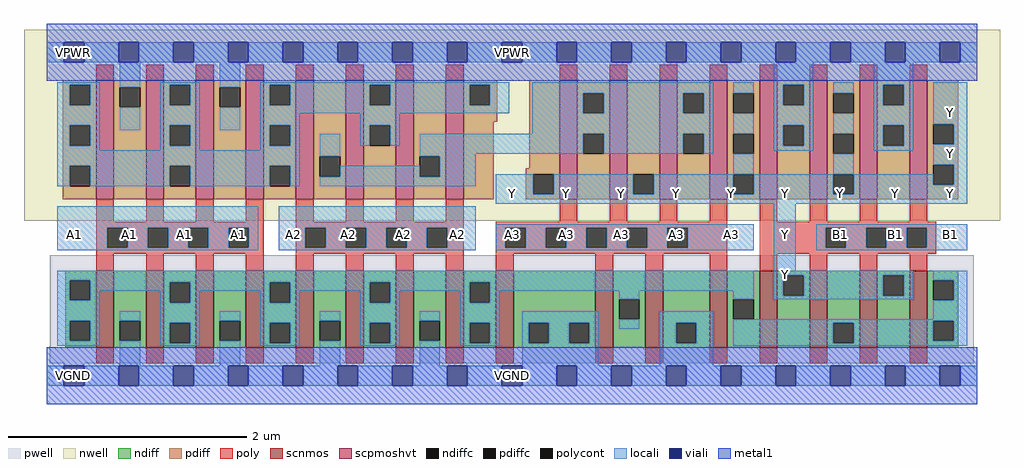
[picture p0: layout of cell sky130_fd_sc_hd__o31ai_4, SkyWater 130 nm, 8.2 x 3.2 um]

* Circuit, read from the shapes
.subckt sky130_fd_sc_hd__o31ai_4 A1 A2 A3 B1 VGND VNB VPB VPWR Y
XM1 VGND A1 n1 VNB sky130_fd_pr__nfet_01v8 w=0.65 l=0.15 m=4
XM2 VGND A2 n1 VNB sky130_fd_pr__nfet_01v8 w=0.65 l=0.15 m=4
XM3 VGND A3 n1 VNB sky130_fd_pr__nfet_01v8 w=0.65 l=0.15 m=4
XM4 Y B1 n1 VNB sky130_fd_pr__nfet_01v8 w=0.65 l=0.15 m=4
XM5 VPWR A1 n2 VPB sky130_fd_pr__pfet_01v8_hvt w=1 l=0.15 m=4
XM6 n3 A2 n2 VPB sky130_fd_pr__pfet_01v8_hvt w=1 l=0.15 m=4
XM7 n3 A3 Y VPB sky130_fd_pr__pfet_01v8_hvt w=1 l=0.15 m=4
XM8 VPWR B1 Y VPB sky130_fd_pr__pfet_01v8_hvt w=1 l=0.15 m=4
.ends

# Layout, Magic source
magic
tech sky130B
magscale 1 2
<< nwell >>
rect -38 261 1602 582
<< pwell >>
rect 5 21 1558 203
rect 29 -17 63 21
<< scnmos >>
rect 83 47 113 177
rect 167 47 197 177
rect 251 47 281 177
rect 335 47 365 177
rect 419 47 449 177
rect 503 47 533 177
rect 587 47 617 177
rect 671 47 701 177
rect 755 47 785 177
rect 922 47 952 177
rect 1006 47 1036 177
rect 1114 47 1144 177
rect 1198 47 1228 177
rect 1282 47 1312 177
rect 1366 47 1396 177
rect 1450 47 1480 177
<< scpmoshvt >>
rect 83 297 113 497
rect 167 297 197 497
rect 251 297 281 497
rect 335 297 365 497
rect 419 297 449 497
rect 503 297 533 497
rect 587 297 617 497
rect 671 297 701 497
rect 862 297 892 497
rect 946 297 976 497
rect 1030 297 1060 497
rect 1114 297 1144 497
rect 1198 297 1228 497
rect 1282 297 1312 497
rect 1366 297 1396 497
rect 1450 297 1480 497
<< ndiff >>
rect 31 161 83 177
rect 31 127 39 161
rect 73 127 83 161
rect 31 93 83 127
rect 31 59 39 93
rect 73 59 83 93
rect 31 47 83 59
rect 113 93 167 177
rect 113 59 123 93
rect 157 59 167 93
rect 113 47 167 59
rect 197 157 251 177
rect 197 123 207 157
rect 241 123 251 157
rect 197 89 251 123
rect 197 55 207 89
rect 241 55 251 89
rect 197 47 251 55
rect 281 93 335 177
rect 281 59 291 93
rect 325 59 335 93
rect 281 47 335 59
rect 365 157 419 177
rect 365 123 375 157
rect 409 123 419 157
rect 365 89 419 123
rect 365 55 375 89
rect 409 55 419 89
rect 365 47 419 55
rect 449 93 503 177
rect 449 59 459 93
rect 493 59 503 93
rect 449 47 503 59
rect 533 157 587 177
rect 533 123 543 157
rect 577 123 587 157
rect 533 89 587 123
rect 533 55 543 89
rect 577 55 587 89
rect 533 47 587 55
rect 617 93 671 177
rect 617 59 627 93
rect 661 59 671 93
rect 617 47 671 59
rect 701 157 755 177
rect 701 123 711 157
rect 745 123 755 157
rect 701 89 755 123
rect 701 55 711 89
rect 745 55 755 89
rect 701 47 755 55
rect 785 89 922 177
rect 785 55 810 89
rect 844 55 878 89
rect 912 55 922 89
rect 785 47 922 55
rect 952 129 1006 177
rect 952 95 962 129
rect 996 95 1006 129
rect 952 47 1006 95
rect 1036 89 1114 177
rect 1036 55 1058 89
rect 1092 55 1114 89
rect 1036 47 1114 55
rect 1144 129 1198 177
rect 1144 95 1154 129
rect 1188 95 1198 129
rect 1144 47 1198 95
rect 1228 169 1282 177
rect 1228 135 1238 169
rect 1272 135 1282 169
rect 1228 47 1282 135
rect 1312 89 1366 177
rect 1312 55 1322 89
rect 1356 55 1366 89
rect 1312 47 1366 55
rect 1396 169 1450 177
rect 1396 135 1406 169
rect 1440 135 1450 169
rect 1396 47 1450 135
rect 1480 161 1532 177
rect 1480 127 1490 161
rect 1524 127 1532 161
rect 1480 93 1532 127
rect 1480 59 1490 93
rect 1524 59 1532 93
rect 1480 47 1532 59
<< pdiff >>
rect 27 489 83 497
rect 27 455 39 489
rect 73 455 83 489
rect 27 421 83 455
rect 27 387 39 421
rect 73 387 83 421
rect 27 353 83 387
rect 27 319 39 353
rect 73 319 83 353
rect 27 297 83 319
rect 113 485 167 497
rect 113 451 123 485
rect 157 451 167 485
rect 113 297 167 451
rect 197 489 251 497
rect 197 455 207 489
rect 241 455 251 489
rect 197 421 251 455
rect 197 387 207 421
rect 241 387 251 421
rect 197 353 251 387
rect 197 319 207 353
rect 241 319 251 353
rect 197 297 251 319
rect 281 485 335 497
rect 281 451 291 485
rect 325 451 335 485
rect 281 297 335 451
rect 365 489 419 497
rect 365 455 375 489
rect 409 455 419 489
rect 365 421 419 455
rect 365 387 375 421
rect 409 387 419 421
rect 365 353 419 387
rect 365 319 375 353
rect 409 319 419 353
rect 365 297 419 319
rect 449 369 503 497
rect 449 335 459 369
rect 493 335 503 369
rect 449 297 503 335
rect 533 489 587 497
rect 533 455 543 489
rect 577 455 587 489
rect 533 421 587 455
rect 533 387 543 421
rect 577 387 587 421
rect 533 297 587 387
rect 617 369 671 497
rect 617 335 627 369
rect 661 335 671 369
rect 617 297 671 335
rect 701 489 757 497
rect 701 455 711 489
rect 745 455 757 489
rect 701 427 757 455
rect 701 297 751 427
rect 811 349 862 497
rect 805 339 862 349
rect 805 305 818 339
rect 852 305 862 339
rect 805 297 862 305
rect 892 475 946 497
rect 892 441 902 475
rect 936 441 946 475
rect 892 407 946 441
rect 892 373 902 407
rect 936 373 946 407
rect 892 297 946 373
rect 976 339 1030 497
rect 976 305 986 339
rect 1020 305 1030 339
rect 976 297 1030 305
rect 1060 475 1114 497
rect 1060 441 1070 475
rect 1104 441 1114 475
rect 1060 407 1114 441
rect 1060 373 1070 407
rect 1104 373 1114 407
rect 1060 297 1114 373
rect 1144 475 1198 497
rect 1144 441 1154 475
rect 1188 441 1198 475
rect 1144 407 1198 441
rect 1144 373 1154 407
rect 1188 373 1198 407
rect 1144 339 1198 373
rect 1144 305 1154 339
rect 1188 305 1198 339
rect 1144 297 1198 305
rect 1228 489 1282 497
rect 1228 455 1238 489
rect 1272 455 1282 489
rect 1228 421 1282 455
rect 1228 387 1238 421
rect 1272 387 1282 421
rect 1228 297 1282 387
rect 1312 475 1366 497
rect 1312 441 1322 475
rect 1356 441 1366 475
rect 1312 407 1366 441
rect 1312 373 1322 407
rect 1356 373 1366 407
rect 1312 339 1366 373
rect 1312 305 1322 339
rect 1356 305 1366 339
rect 1312 297 1366 305
rect 1396 489 1450 497
rect 1396 455 1406 489
rect 1440 455 1450 489
rect 1396 421 1450 455
rect 1396 387 1406 421
rect 1440 387 1450 421
rect 1396 297 1450 387
rect 1480 423 1532 497
rect 1480 389 1490 423
rect 1524 389 1532 423
rect 1480 355 1532 389
rect 1480 321 1490 355
rect 1524 321 1532 355
rect 1480 297 1532 321
<< ndiffc >>
rect 39 127 73 161
rect 39 59 73 93
rect 123 59 157 93
rect 207 123 241 157
rect 207 55 241 89
rect 291 59 325 93
rect 375 123 409 157
rect 375 55 409 89
rect 459 59 493 93
rect 543 123 577 157
rect 543 55 577 89
rect 627 59 661 93
rect 711 123 745 157
rect 711 55 745 89
rect 810 55 844 89
rect 878 55 912 89
rect 962 95 996 129
rect 1058 55 1092 89
rect 1154 95 1188 129
rect 1238 135 1272 169
rect 1322 55 1356 89
rect 1406 135 1440 169
rect 1490 127 1524 161
rect 1490 59 1524 93
<< pdiffc >>
rect 39 455 73 489
rect 39 387 73 421
rect 39 319 73 353
rect 123 451 157 485
rect 207 455 241 489
rect 207 387 241 421
rect 207 319 241 353
rect 291 451 325 485
rect 375 455 409 489
rect 375 387 409 421
rect 375 319 409 353
rect 459 335 493 369
rect 543 455 577 489
rect 543 387 577 421
rect 627 335 661 369
rect 711 455 745 489
rect 818 305 852 339
rect 902 441 936 475
rect 902 373 936 407
rect 986 305 1020 339
rect 1070 441 1104 475
rect 1070 373 1104 407
rect 1154 441 1188 475
rect 1154 373 1188 407
rect 1154 305 1188 339
rect 1238 455 1272 489
rect 1238 387 1272 421
rect 1322 441 1356 475
rect 1322 373 1356 407
rect 1322 305 1356 339
rect 1406 455 1440 489
rect 1406 387 1440 421
rect 1490 389 1524 423
rect 1490 321 1524 355
<< poly >>
rect 83 497 113 523
rect 167 497 197 523
rect 251 497 281 523
rect 335 497 365 523
rect 419 497 449 523
rect 503 497 533 523
rect 587 497 617 523
rect 671 497 701 523
rect 862 497 892 523
rect 946 497 976 523
rect 1030 497 1060 523
rect 1114 497 1144 523
rect 1198 497 1228 523
rect 1282 497 1312 523
rect 1366 497 1396 523
rect 1450 497 1480 523
rect 83 259 113 297
rect 167 259 197 297
rect 251 259 281 297
rect 335 259 365 297
rect 83 249 365 259
rect 83 215 102 249
rect 136 215 170 249
rect 204 215 238 249
rect 272 215 306 249
rect 340 215 365 249
rect 83 205 365 215
rect 83 177 113 205
rect 167 177 197 205
rect 251 177 281 205
rect 335 177 365 205
rect 419 259 449 297
rect 503 259 533 297
rect 587 259 617 297
rect 671 259 701 297
rect 862 259 892 297
rect 946 259 976 297
rect 1030 259 1060 297
rect 1114 259 1144 297
rect 419 249 701 259
rect 419 215 435 249
rect 469 215 503 249
rect 537 215 571 249
rect 605 215 639 249
rect 673 215 701 249
rect 419 205 701 215
rect 419 177 449 205
rect 503 177 533 205
rect 587 177 617 205
rect 671 177 701 205
rect 755 249 1144 259
rect 755 215 771 249
rect 805 215 839 249
rect 873 215 907 249
rect 941 215 975 249
rect 1009 215 1043 249
rect 1077 215 1144 249
rect 755 205 1144 215
rect 755 177 785 205
rect 922 177 952 205
rect 1006 177 1036 205
rect 1114 177 1144 205
rect 1198 259 1228 297
rect 1282 259 1312 297
rect 1366 259 1396 297
rect 1450 259 1480 297
rect 1198 249 1495 259
rect 1198 215 1309 249
rect 1343 215 1377 249
rect 1411 215 1445 249
rect 1479 215 1495 249
rect 1198 205 1495 215
rect 1198 177 1228 205
rect 1282 177 1312 205
rect 1366 177 1396 205
rect 1450 177 1480 205
rect 83 21 113 47
rect 167 21 197 47
rect 251 21 281 47
rect 335 21 365 47
rect 419 21 449 47
rect 503 21 533 47
rect 587 21 617 47
rect 671 21 701 47
rect 755 21 785 47
rect 922 21 952 47
rect 1006 21 1036 47
rect 1114 21 1144 47
rect 1198 21 1228 47
rect 1282 21 1312 47
rect 1366 21 1396 47
rect 1450 21 1480 47
<< polycont >>
rect 102 215 136 249
rect 170 215 204 249
rect 238 215 272 249
rect 306 215 340 249
rect 435 215 469 249
rect 503 215 537 249
rect 571 215 605 249
rect 639 215 673 249
rect 771 215 805 249
rect 839 215 873 249
rect 907 215 941 249
rect 975 215 1009 249
rect 1043 215 1077 249
rect 1309 215 1343 249
rect 1377 215 1411 249
rect 1445 215 1479 249
<< locali >>
rect 0 527 29 561
rect 63 527 121 561
rect 155 527 213 561
rect 247 527 305 561
rect 339 527 397 561
rect 431 527 489 561
rect 523 527 581 561
rect 615 527 673 561
rect 707 527 765 561
rect 799 527 857 561
rect 891 527 949 561
rect 983 527 1041 561
rect 1075 527 1133 561
rect 1167 527 1225 561
rect 1259 527 1317 561
rect 1351 527 1409 561
rect 1443 527 1501 561
rect 1535 527 1564 561
rect 18 489 89 493
rect 18 455 39 489
rect 73 455 89 489
rect 18 421 89 455
rect 18 387 39 421
rect 73 387 89 421
rect 123 485 157 527
rect 123 413 157 451
rect 191 489 257 493
rect 191 455 207 489
rect 241 455 257 489
rect 191 421 257 455
rect 18 379 89 387
rect 191 387 207 421
rect 241 387 257 421
rect 291 485 325 527
rect 291 413 325 451
rect 359 489 777 493
rect 359 455 375 489
rect 409 455 543 489
rect 577 455 711 489
rect 745 455 777 489
rect 359 441 777 455
rect 816 475 1120 493
rect 816 441 902 475
rect 936 441 1070 475
rect 1104 441 1120 475
rect 359 421 425 441
rect 191 379 257 387
rect 359 387 375 421
rect 409 387 425 421
rect 527 421 593 441
rect 359 379 425 387
rect 18 353 425 379
rect 18 319 39 353
rect 73 319 207 353
rect 241 319 375 353
rect 409 319 425 353
rect 459 369 493 407
rect 527 387 543 421
rect 577 387 593 421
rect 816 407 1120 441
rect 627 373 902 407
rect 936 373 1070 407
rect 1104 373 1120 407
rect 1154 475 1188 493
rect 1154 407 1188 441
rect 1222 489 1288 527
rect 1222 455 1238 489
rect 1272 455 1288 489
rect 1222 421 1288 455
rect 1222 387 1238 421
rect 1272 387 1288 421
rect 1222 378 1288 387
rect 1322 475 1356 493
rect 1322 407 1356 441
rect 627 369 721 373
rect 493 335 627 353
rect 661 335 721 369
rect 1154 339 1188 373
rect 1390 489 1456 527
rect 1390 455 1406 489
rect 1440 455 1456 489
rect 1390 421 1456 455
rect 1390 387 1406 421
rect 1440 387 1456 421
rect 1390 378 1456 387
rect 1490 423 1547 493
rect 1524 389 1547 423
rect 1322 339 1356 373
rect 1490 355 1547 389
rect 459 319 721 335
rect 755 305 818 339
rect 852 305 986 339
rect 1020 305 1154 339
rect 1188 305 1322 339
rect 1356 321 1490 339
rect 1524 321 1547 355
rect 1356 305 1547 321
rect 755 289 1547 305
rect 18 249 356 285
rect 18 215 102 249
rect 136 215 170 249
rect 204 215 238 249
rect 272 215 306 249
rect 340 215 356 249
rect 18 211 356 215
rect 390 249 721 285
rect 390 215 435 249
rect 469 215 503 249
rect 537 215 571 249
rect 605 215 639 249
rect 673 215 721 249
rect 390 211 721 215
rect 755 249 1188 255
rect 755 215 771 249
rect 805 215 839 249
rect 873 215 907 249
rect 941 215 975 249
rect 1009 215 1043 249
rect 1077 215 1188 249
rect 755 211 1188 215
rect 1222 177 1259 289
rect 1293 249 1547 255
rect 1293 215 1309 249
rect 1343 215 1377 249
rect 1411 215 1445 249
rect 1479 215 1547 249
rect 1293 211 1547 215
rect 18 161 1188 177
rect 18 127 39 161
rect 73 157 1188 161
rect 73 143 207 157
rect 73 127 89 143
rect 18 93 89 127
rect 191 123 207 143
rect 241 143 375 157
rect 241 123 257 143
rect 18 59 39 93
rect 73 59 89 93
rect 18 51 89 59
rect 123 93 157 109
rect 123 17 157 59
rect 191 89 257 123
rect 359 123 375 143
rect 409 143 543 157
rect 409 123 425 143
rect 191 55 207 89
rect 241 55 257 89
rect 191 51 257 55
rect 291 93 325 109
rect 291 17 325 59
rect 359 89 425 123
rect 527 123 543 143
rect 577 143 711 157
rect 577 123 593 143
rect 359 55 375 89
rect 409 55 425 89
rect 359 51 425 55
rect 459 93 493 109
rect 459 17 493 59
rect 527 89 593 123
rect 695 123 711 143
rect 745 143 1188 157
rect 745 123 761 143
rect 527 55 543 89
rect 577 55 593 89
rect 527 51 593 55
rect 627 93 661 109
rect 627 17 661 59
rect 695 89 761 123
rect 962 129 996 143
rect 695 55 711 89
rect 745 55 761 89
rect 695 51 761 55
rect 799 89 928 109
rect 799 55 810 89
rect 844 55 878 89
rect 912 55 928 89
rect 1154 129 1188 143
rect 1222 169 1456 177
rect 1222 135 1238 169
rect 1272 135 1406 169
rect 1440 135 1456 169
rect 1222 129 1456 135
rect 1490 161 1547 177
rect 962 79 996 95
rect 1030 89 1120 109
rect 799 17 928 55
rect 1030 55 1058 89
rect 1092 55 1120 89
rect 1030 17 1120 55
rect 1524 127 1547 161
rect 1490 95 1547 127
rect 1154 93 1547 95
rect 1154 89 1490 93
rect 1154 55 1322 89
rect 1356 59 1490 89
rect 1524 59 1547 93
rect 1356 55 1547 59
rect 1154 51 1547 55
rect 0 -17 29 17
rect 63 -17 121 17
rect 155 -17 213 17
rect 247 -17 305 17
rect 339 -17 397 17
rect 431 -17 489 17
rect 523 -17 581 17
rect 615 -17 673 17
rect 707 -17 765 17
rect 799 -17 857 17
rect 891 -17 949 17
rect 983 -17 1041 17
rect 1075 -17 1133 17
rect 1167 -17 1225 17
rect 1259 -17 1317 17
rect 1351 -17 1409 17
rect 1443 -17 1501 17
rect 1535 -17 1564 17
<< viali >>
rect 29 527 63 561
rect 121 527 155 561
rect 213 527 247 561
rect 305 527 339 561
rect 397 527 431 561
rect 489 527 523 561
rect 581 527 615 561
rect 673 527 707 561
rect 765 527 799 561
rect 857 527 891 561
rect 949 527 983 561
rect 1041 527 1075 561
rect 1133 527 1167 561
rect 1225 527 1259 561
rect 1317 527 1351 561
rect 1409 527 1443 561
rect 1501 527 1535 561
rect 29 -17 63 17
rect 121 -17 155 17
rect 213 -17 247 17
rect 305 -17 339 17
rect 397 -17 431 17
rect 489 -17 523 17
rect 581 -17 615 17
rect 673 -17 707 17
rect 765 -17 799 17
rect 857 -17 891 17
rect 949 -17 983 17
rect 1041 -17 1075 17
rect 1133 -17 1167 17
rect 1225 -17 1259 17
rect 1317 -17 1351 17
rect 1409 -17 1443 17
rect 1501 -17 1535 17
<< metal1 >>
rect 0 561 1564 592
rect 0 527 29 561
rect 63 527 121 561
rect 155 527 213 561
rect 247 527 305 561
rect 339 527 397 561
rect 431 527 489 561
rect 523 527 581 561
rect 615 527 673 561
rect 707 527 765 561
rect 799 527 857 561
rect 891 527 949 561
rect 983 527 1041 561
rect 1075 527 1133 561
rect 1167 527 1225 561
rect 1259 527 1317 561
rect 1351 527 1409 561
rect 1443 527 1501 561
rect 1535 527 1564 561
rect 0 496 1564 527
rect 0 17 1564 48
rect 0 -17 29 17
rect 63 -17 121 17
rect 155 -17 213 17
rect 247 -17 305 17
rect 339 -17 397 17
rect 431 -17 489 17
rect 523 -17 581 17
rect 615 -17 673 17
rect 707 -17 765 17
rect 799 -17 857 17
rect 891 -17 949 17
rect 983 -17 1041 17
rect 1075 -17 1133 17
rect 1167 -17 1225 17
rect 1259 -17 1317 17
rect 1351 -17 1409 17
rect 1443 -17 1501 17
rect 1535 -17 1564 17
rect 0 -48 1564 -17
<< labels >>
flabel locali s 1041 221 1075 255 0 FreeSans 200 0 0 0 A3
port 3 nsew signal input
flabel locali s 949 221 983 255 0 FreeSans 200 0 0 0 A3
port 3 nsew signal input
flabel locali s 857 221 891 255 0 FreeSans 200 0 0 0 A3
port 3 nsew signal input
flabel locali s 766 221 800 255 0 FreeSans 200 0 0 0 A3
port 3 nsew signal input
flabel locali s 674 221 708 255 0 FreeSans 200 0 0 0 A2
port 2 nsew signal input
flabel locali s 582 221 616 255 0 FreeSans 200 0 0 0 A2
port 2 nsew signal input
flabel locali s 490 221 524 255 0 FreeSans 200 0 0 0 A2
port 2 nsew signal input
flabel locali s 398 221 432 255 0 FreeSans 200 0 0 0 A2
port 2 nsew signal input
flabel locali s 306 221 340 255 0 FreeSans 200 0 0 0 A1
port 1 nsew signal input
flabel locali s 214 221 248 255 0 FreeSans 200 0 0 0 A1
port 1 nsew signal input
flabel locali s 122 221 156 255 0 FreeSans 200 0 0 0 A1
port 1 nsew signal input
flabel locali s 30 221 64 255 0 FreeSans 200 0 0 0 A1
port 1 nsew signal input
flabel locali s 766 289 800 323 0 FreeSans 200 0 0 0 Y
port 9 nsew signal output
flabel locali s 857 289 891 323 0 FreeSans 200 0 0 0 Y
port 9 nsew signal output
flabel locali s 949 289 983 323 0 FreeSans 200 0 0 0 Y
port 9 nsew signal output
flabel locali s 1041 289 1075 323 0 FreeSans 200 0 0 0 Y
port 9 nsew signal output
flabel locali s 1133 289 1167 323 0 FreeSans 200 0 0 0 Y
port 9 nsew signal output
flabel locali s 1225 289 1259 323 0 FreeSans 200 0 0 0 Y
port 9 nsew signal output
flabel locali s 1317 289 1351 323 0 FreeSans 200 0 0 0 Y
port 9 nsew signal output
flabel locali s 1409 289 1443 323 0 FreeSans 200 0 0 0 Y
port 9 nsew signal output
flabel locali s 1501 289 1535 323 0 FreeSans 200 0 0 0 Y
port 9 nsew signal output
flabel locali s 1501 425 1535 459 0 FreeSans 200 0 0 0 Y
port 9 nsew signal output
flabel locali s 1501 357 1535 391 0 FreeSans 200 0 0 0 Y
port 9 nsew signal output
flabel locali s 1501 221 1535 255 0 FreeSans 200 0 0 0 B1
port 4 nsew signal input
flabel locali s 1409 221 1443 255 0 FreeSans 200 0 0 0 B1
port 4 nsew signal input
flabel locali s 1317 221 1351 255 0 FreeSans 200 0 0 0 B1
port 4 nsew signal input
flabel locali s 1225 153 1259 187 0 FreeSans 200 0 0 0 Y
port 9 nsew signal output
flabel locali s 1225 221 1259 255 0 FreeSans 200 0 0 0 Y
port 9 nsew signal output
flabel locali s 1133 221 1167 255 0 FreeSans 200 0 0 0 A3
port 3 nsew signal input
flabel metal1 s 29 -17 63 17 0 FreeSans 200 0 0 0 VGND
port 5 nsew ground bidirectional abutment
flabel metal1 s 29 527 63 561 0 FreeSans 200 0 0 0 VPWR
port 8 nsew power bidirectional abutment
flabel nwell s 29 527 63 561 0 FreeSans 200 0 0 0 VPB
port 7 nsew power bidirectional
flabel pwell s 29 -17 63 17 0 FreeSans 200 0 0 0 VNB
port 6 nsew ground bidirectional
rlabel comment s 0 0 0 0 4 o31ai_4
rlabel metal1 s 0 -48 1564 48 1 VGND
port 5 nsew ground bidirectional abutment
rlabel metal1 s 0 496 1564 592 1 VPWR
port 8 nsew power bidirectional abutment
<< properties >>
string FIXED_BBOX 0 0 1564 544
string GDS_END 1448880
string GDS_FILE $PDKPATH/libs.ref/sky130_fd_sc_hd/gds/sky130_fd_sc_hd.gds
string GDS_START 1434396
string LEFclass CORE
string LEFsite unithd
string LEFsymmetry X Y R90
string path 0.000 0.000 7.820 0.000 
<< end >>
